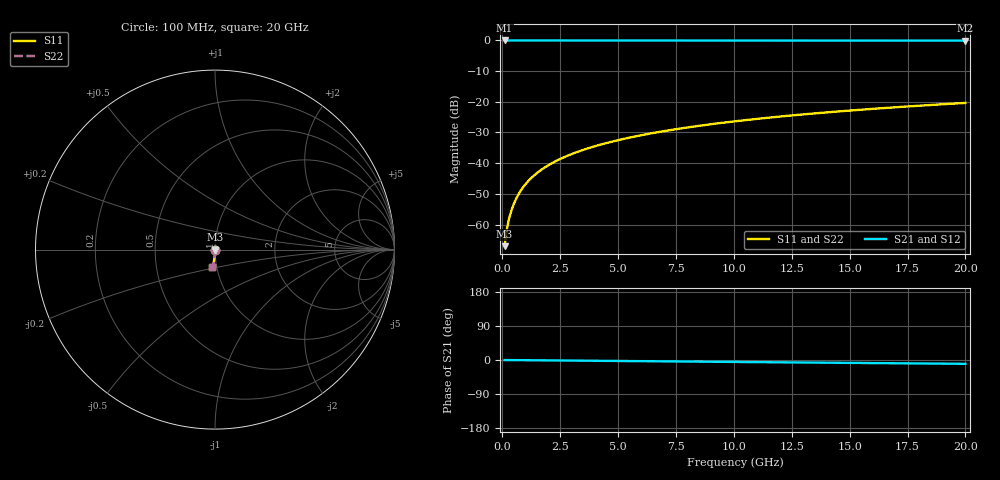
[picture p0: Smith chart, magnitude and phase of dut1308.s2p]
! Touchstone file exported from HFSS 2026.1.0
!  File:  C:/ffzhzh/LocalFiles/Ansys_Project_Files/temp_train_TSV_1308_1783194894_51560.aedt
!  Generated:  03:56:17 AM Jul  5, 2026
!  Design:  TSV
!  Project:  temp_train_TSV_1308_1783194894_51560
! Variables:
!  h_bsmrdl = 2um
!  h_ox = 20um
!  h_rdl = 5um
!  h_sub = 92.64um
!  h_tmrdl = 5um
!  h_tsv = 92.64um
!  h_via = 3um
!  l_bsmrdl = 300um
!  l_sub = 419.78um
!  l_tmrdl = 200um
!  m_sub = 200um
!  pitch = 25.24um
!  r_tsv = 9.89um
!  s_tmrdl = 10um
!  w_bsmrdl = 18um
!  w_sub = 500um
!  w_tmrdl = 12um
!  x_tsv_center1 = 206um
!  x_tsv_center2 = 524um
!  x_tsv_center3 = 736um
!  x_tsv_center4 = 1054um
!  x_tsv_center5 = 1266um
!  x_tsv_center6 = 1584um
# GHz S MA R 50.000000
! Terminal data exported
! Port[1] = TSV1_1_T1
! Port[2] = TSV1_1_T2
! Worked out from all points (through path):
!   200 points, 100 MHz to 20 GHz, reference 50 ohm
!   highest |S21| = 0.00 dB at 100 MHz (marker M1); lowest = -0.1 dB at 20 GHz (marker M2)
!   group delay of S21, straight-line fit = 1.4 ps
!   lowest |S11| = -67.0 dB at 100 MHz (marker M3), VSWR 1.00, Z = 50 - j0.0413 ohm
!   |S11| at or under -10 dB: start of sweep to end of sweep
!   |S22| runs from -67.0 to -20.4 dB; largest |S21 - S12| = 3.1e-15
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0.1  0.0004442 -68.3  0.9998 -0.1  0.9998 -0.1  0.0004442 -68.3
! Gamma 0 0 0 0
! Port Impedance 50 0 50 0
0.2  0.0008529 -77.3  0.9998 -0.1  0.9998 -0.1  0.0008529 -77.3
0.3  0.001282 -80.1  0.9998 -0.2  0.9998 -0.2  0.001282 -80.1
0.4  0.001725 -81.5  0.9997 -0.2  0.9997 -0.2  0.001725 -81.5
0.5  0.00218 -82.3  0.9997 -0.3  0.9997 -0.3  0.00218 -82.3
0.7  0.003112 -83.5  0.9996 -0.4  0.9996 -0.4  0.003112 -83.5
0.8  0.003586 -84.0  0.9996 -0.4  0.9996 -0.4  0.003586 -84.0
1  0.004538 -84.8  0.9995 -0.5  0.9995 -0.5  0.004538 -84.8
1.2  0.005494 -85.5  0.9995 -0.6  0.9995 -0.6  0.005494 -85.5
1.4  0.00645 -86.1  0.9994 -0.7  0.9994 -0.7  0.00645 -86.1
1.7  0.007885 -86.8  0.9994 -0.9  0.9994 -0.9  0.007885 -86.8
2  0.009319 -87.3  0.9993 -1.0  0.9993 -1.0  0.009319 -87.3
2.7  0.01267 -88.3  0.9992 -1.4  0.9992 -1.4  0.01267 -88.3
3.5  0.0165 -89.1  0.9991 -1.8  0.9991 -1.8  0.0165 -89.1
4.2  0.01986 -89.7  0.999 -2.2  0.999 -2.2  0.01986 -89.7
5  0.02372 -90.3  0.9988 -2.6  0.9988 -2.6  0.02372 -90.3
6.8  0.03241 -91.5  0.9984 -3.5  0.9984 -3.5  0.03241 -91.5
8.3  0.03968 -92.5  0.998 -4.2  0.998 -4.2  0.03968 -92.5
10.1  0.04839 -93.5  0.9975 -5.1  0.9975 -5.1  0.04839 -93.5
13.4  0.06432 -95.4  0.9964 -6.8  0.9964 -6.8  0.06432 -95.4
16.7  0.08019 -97.2  0.995 -8.5  0.995 -8.5  0.08019 -97.2
20  0.09598 -99.0  0.9934 -10.1  0.9934 -10.1  0.09598 -99.0
